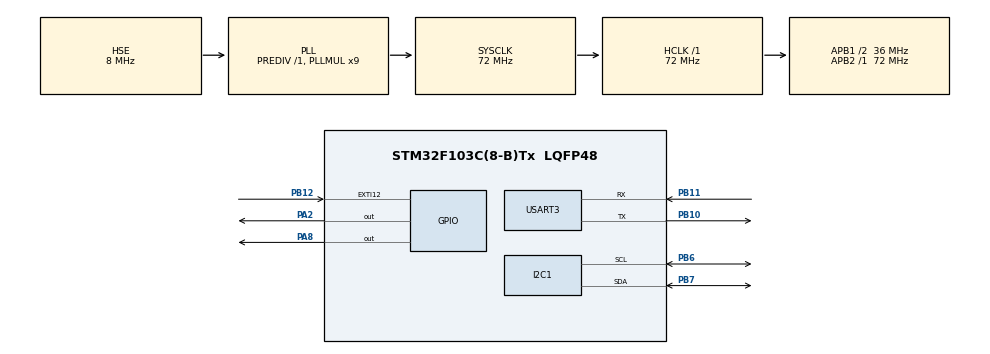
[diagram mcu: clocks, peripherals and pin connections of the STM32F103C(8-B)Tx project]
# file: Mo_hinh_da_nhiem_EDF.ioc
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FREERTOS.Mutexes01=UARTMutex,Dynamic,NULL,Depleted;LCDMutex,Dynamic,NULL,Available
FREERTOS.Queues01=LCDQueue,16,uint16_t,0,Dynamic,NULL,NULL
FREERTOS.Tasks01=Get_Distance,24,256,Function_Get_Distance,Default,NULL,Dynamic,NULL,NULL;Get_Temp,24,256,Function_Get_Temp,Default,NULL,Dynamic,NULL,NULL;Get_Humidity,24,256,Function_Get_Humidity,Default,NULL,Dynamic,NULL,NULL;LCD_UART,32,256,Function_LCD_UART,Default,NULL,Dynamic,NULL,NULL
FREERTOS.Timers01=EDF_Scheduler,CallbackEDF_Scheduler,osTimerPeriodic,Default,NULL,Dynamic,NULL
FREERTOS.configMINIMAL_STACK_SIZE=256
FREERTOS.configQUEUE_REGISTRY_SIZE=16
FREERTOS.configTIMER_QUEUE_LENGTH=16
FREERTOS.configTIMER_TASK_PRIORITY=2
FREERTOS.configTIMER_TASK_STACK_DEPTH=256
FREERTOS.configTOTAL_HEAP_SIZE=10000
FREERTOS.configUSE_NEWLIB_REENTRANT=1
Mcu.Family=STM32F1
Mcu.Name=STM32F103C(8-B)Tx
Mcu.Package=LQFP48
NVIC.EXTI15_10_IRQn=true\:5\:0\:false\:false\:true\:true\:true\:true\:true
NVIC.PriorityGroup=NVIC_PRIORITYGROUP_4
NVIC.TIM2_IRQn=true\:15\:0\:false\:false\:true\:false\:true\:true\:true
NVIC.TimeBase=TIM2_IRQn
NVIC.TimeBaseIP=TIM2
NVIC.USART3_IRQn=true\:5\:0\:false\:false\:true\:true\:true\:true\:true
PA13.Mode=Serial_Wire
PA13.Signal=SYS_JTMS-SWDIO
PA14.Mode=Serial_Wire
PA14.Signal=SYS_JTCK-SWCLK
PA2.Signal=GPIO_Output
PA8.Signal=GPIO_Output
PB10.Mode=Asynchronous
PB10.Signal=USART3_TX
PB11.Mode=Asynchronous
PB11.Signal=USART3_RX
PB12.GPIO_ModeDefaultEXTI=GPIO_MODE_IT_RISING_FALLING
PB12.Signal=GPXTI12
PB6.Mode=I2C
PB6.Signal=I2C1_SCL
PB7.Mode=I2C
PB7.Signal=I2C1_SDA
PD0-OSC_IN.Mode=HSE-External-Oscillator
PD0-OSC_IN.Signal=RCC_OSC_IN
PD1-OSC_OUT.Mode=HSE-External-Oscillator
PD1-OSC_OUT.Signal=RCC_OSC_OUT
ProjectManager.HeapSize=0x200
ProjectManager.StackSize=0x400
ProjectManager.TargetToolchain=STM32CubeIDE
RCC.AHBFreq_Value=72000000
RCC.APB1CLKDivider=RCC_HCLK_DIV2
RCC.APB1Freq_Value=36000000
RCC.APB1TimFreq_Value=72000000
RCC.APB2Freq_Value=72000000
RCC.APB2TimFreq_Value=72000000
RCC.HCLKFreq_Value=72000000
RCC.PLLMUL=RCC_PLL_MUL9
RCC.PLLSourceVirtual=RCC_PLLSOURCE_HSE
RCC.SYSCLKFreq_VALUE=72000000
RCC.SYSCLKSource=RCC_SYSCLKSOURCE_PLLCLK
RCC.USBFreq_Value=72000000
TIM1.Period=29999
TIM1.Prescaler=63
TIM3.Period=0xffff
TIM3.Prescaler=71
USART3.VirtualMode=VM_ASYNC
VP_FREERTOS_VS_CMSIS_V2.Mode=CMSIS_V2
VP_SYS_VS_tim2.Mode=TIM2
VP_TIM1_VS_ClockSourceINT.Mode=Internal
VP_TIM3_VS_ClockSourceINT.Mode=Internal
board=custom

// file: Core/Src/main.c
/* USER CODE BEGIN Header */
/* USER CODE END Header */
#include "main.h"
#include "cmsis_os.h"

/* USER CODE BEGIN Includes */
#include <stdio.h>
#include <stdint.h>
#include <stdbool.h>
#include <string.h>
#include <stdlib.h>
#include "dht22.h"
#include "I2C_LCD.h"
#include "stdio.h"
#include "hcsr04.h"
/* USER CODE END Includes */

/* USER CODE BEGIN PTD */
typedef struct {
    uint32_t earliest_deadline;
    uint32_t end_cycle;
    uint32_t deadline;
    uint32_t period;
} TaskState;

TaskState tasks[] = {
    {0,0, 50, 100},  // Distance task
    {0,0, 100, 200},  // Temp task
    {0,0, 150, 300},  // Humidity task
};

/* USER CODE END PTD */

/* USER CODE BEGIN PD */
#define MyI2C_LCD I2C_LCD_1
/* USER CODE END PD */

I2C_HandleTypeDef hi2c1;

TIM_HandleTypeDef htim1;
TIM_HandleTypeDef htim3;

UART_HandleTypeDef huart3;

/* Definitions for Get_Distance */
osThreadId_t Get_DistanceHandle;
const osThreadAttr_t Get_Distance_attributes = {
  .name = "Get_Distance",
  .stack_size = 256 * 4,
  .priority = (osPriority_t) osPriorityNormal,
};
/* Definitions for Get_Temp */
osThreadId_t Get_TempHandle;
const osThreadAttr_t Get_Temp_attributes = {
  .name = "Get_Temp",
  .stack_size = 256 * 4,
  .priority = (osPriority_t) osPriorityNormal,
};
/* Definitions for Get_Humidity */
osThreadId_t Get_HumidityHandle;
const osThreadAttr_t Get_Humidity_attributes = {
  .name = "Get_Humidity",
  .stack_size = 256 * 4,
  .priority = (osPriority_t) osPriorityNormal,
};
/* Definitions for LCD_UART */
osThreadId_t LCD_UARTHandle;
const osThreadAttr_t LCD_UART_attributes = {
  .name = "LCD_UART",
  .stack_size = 256 * 4,
  .priority = (osPriority_t) osPriorityAboveNormal,
};
/* Definitions for LCDQueue */
osMessageQueueId_t LCDQueueHandle;
const osMessageQueueAttr_t LCDQueue_attributes = {
  .name = "LCDQueue"
};
/* Definitions for EDF_Scheduler */
osTimerId_t EDF_SchedulerHandle;
const osTimerAttr_t EDF_Scheduler_attributes = {
  .name = "EDF_Scheduler"
};
/* Definitions for UARTMutex */
osMutexId_t UARTMutexHandle;
const osMutexAttr_t UARTMutex_attributes = {
  .name = "UARTMutex"
};
/* Definitions for LCDMutex */
osMutexId_t LCDMutexHandle;
const osMutexAttr_t LCDMutex_attributes = {
  .name = "LCDMutex"
};
/* USER CODE BEGIN PV */
int NUM_TASKS=3;
char buf[32]; // 1 dòng LCD chỉ có 16 ký tự
float T,H;

uint8_t RX_data,index_buf = 0;
int RX_done=0;
#define RX_BUFFER_SIZE 20
uint8_t rxBuffer[20];  // Bộ đệm nhận dữ liệu
uint8_t rxData;                    // Lưu dữ liệu từng byte

int task_id;
uint32_t deadline, period;

//int print_one_yet=0;

char received_char;
volatile bool system_running = false;  // Trạng thái hệ thống

#define FLAG_TASK_0 0x01
#define FLAG_TASK_1 0x02
#define FLAG_TASK_2 0x04

/* USER CODE END PV */

void SystemClock_Config(void);
static void MX_GPIO_Init(void);
static void MX_USART3_UART_Init(void);
static void MX_I2C1_Init(void);
static void MX_TIM1_Init(void);
static void MX_TIM3_Init(void);
void Function_Get_Distance(void *argument);
void Function_Get_Temp(void *argument);
void Function_Get_Humidity(void *argument);
void Function_LCD_UART(void *argument);
void CallbackEDF_Scheduler(void *argument);

/* USER CODE BEGIN PFP */
void Deadline_Init(){
	  uint32_t current_time = osKernelGetTickCount();  // Get the current system time
	  tasks[0].earliest_deadline =current_time + tasks[0].deadline;
	  tasks[1].earliest_deadline =current_time +tasks[1].deadline;
	  tasks[2].earliest_deadline =current_time +tasks[2].deadline;
	  tasks[0].end_cycle = current_time+tasks[0].period;
	  tasks[1].end_cycle = current_time+tasks[1].period;
	  tasks[2].end_cycle = current_time+tasks[2].period;
}
void EDF_Scheduler(void) {
    // In thông tin các deadline hiện tại để theo dõi
	uint32_t current_time = osKernelGetTickCount(); // Lấy thời gian hiện tại
//    printf("%lu:::%lu ----%lu----%lu\n",current_time, tasks[0].earliest_deadline, tasks[1].earliest_deadline, tasks[2].earliest_deadline);

    // Cập nhật lại deadline dựa trên chu kỳ cố định
    for (int i = 0; i < NUM_TASKS; i++) {
        if (current_time > tasks[i].end_cycle) {
            // Cập nhật deadline và chuyển sang chu kỳ kế tiếp
            tasks[i].earliest_deadline = tasks[i].end_cycle + tasks[i].deadline;
            tasks[i].end_cycle += tasks[i].period;
        }
    }

    // Tìm tác vụ có deadline sớm nhất
    int earliest_task = 0;
    for (int i = 0; i < NUM_TASKS; i++) {
        if (tasks[i].earliest_deadline < tasks[earliest_task].earliest_deadline) {
            earliest_task = i;
        }
    }
    if(tasks[earliest_task].earliest_deadline<tasks[earliest_task].end_cycle){
    	// Ghi nhật ký nhiệm vụ được ưu tiên (cho mục đích kiểm tra)
    	    printf("Task %d ->1 (Deadline: %lu)\n", earliest_task, tasks[earliest_task].earliest_deadline);

    	    osThreadFlagsSet(Get_DistanceHandle, earliest_task == 0 ? FLAG_TASK_0 : 0);
    	    osThreadFlagsSet(Get_TempHandle, earliest_task == 1 ? FLAG_TASK_1 : 0);
    	    osThreadFlagsSet(Get_HumidityHandle, earliest_task == 2 ? FLAG_TASK_2 : 0);
    	//
    	//    // Thiết lập ưu tiên cho các tác vụ
    	//    osThreadSetPriority(Get_DistanceHandle, earliest_task == 0 ? osPriorityNormal1 : osPriorityNormal);
    	//    osThreadSetPriority(Get_TempHandle, earliest_task == 1 ? osPriorityNormal1 : osPriorityNormal);
    	//    osThreadSetPriority(Get_HumidityHandle, earliest_task == 2 ? osPriorityNormal1 : osPriorityNormal);

    }
    }
/* USER CODE END PFP */

/* USER CODE BEGIN 0 */
#ifdef __GNUC__
    #define PUTCHAR_PROTOTYPE int __io_putchar(int ch)
#else
    #define PUTCHAR_PROTOTYPE int fputc(int ch, FILE *f)
#endif

PUTCHAR_PROTOTYPE
{
    HAL_UART_Transmit(&huart3, (uint8_t *)&ch, 1, HAL_MAX_DELAY);  // Transmit char via UART
    return ch;
}
/* USER CODE END 0 */

int main(void)
{

  /* MCU Configuration--------------------------------------------------------*/

  /* Reset of all peripherals, Initializes the Flash interface and the Systick. */
  HAL_Init();

  /* Configure the system clock */
  SystemClock_Config();

  /* Initialize all configured peripherals */
  MX_GPIO_Init();
  MX_USART3_UART_Init();
  MX_I2C1_Init();
  MX_TIM1_Init();
  MX_TIM3_Init();
  /* USER CODE BEGIN 2 */
  HAL_TIM_Base_Start(&htim3);
  printf("start\n");
  printf("\"start.\"->start\n");

  CoreDebug->DEMCR |= CoreDebug_DEMCR_TRCENA_Msk;
  DWT->CTRL |= DWT_CTRL_CYCCNTENA_Msk;

  HCSR04_Init(&htim1);
  dht22_init();
  I2C_LCD_Init(MyI2C_LCD);

  I2C_LCD_Clear(MyI2C_LCD);
  sprintf(buf,"\"start.\"->start");
  I2C_LCD_WriteString(MyI2C_LCD, buf);

//  HAL_UART_Receive_IT(&huart3, (uint8_t*)&received_char, 1);

  HAL_UART_Receive_IT(&huart3, &RX_data, 1);

  /* USER CODE END 2 */

  /* Init scheduler */
  osKernelInitialize();
  /* Create the mutex(es) */
  /* creation of UARTMutex */
  UARTMutexHandle = osMutexNew(&UARTMutex_attributes);

  /* creation of LCDMutex */
  LCDMutexHandle = osMutexNew(&LCDMutex_attributes);

  /* Create the timer(s) */
  /* creation of EDF_Scheduler */
  EDF_SchedulerHandle = osTimerNew(CallbackEDF_Scheduler, osTimerPeriodic, NULL, &EDF_Scheduler_attributes);

  /* USER CODE BEGIN RTOS_TIMERS */
  /* Start the EDF Scheduler timer */
  if (osTimerStart(EDF_SchedulerHandle, 30) != osOK) {
      printf("Failed to start EDF Scheduler timer\n");
  }
  /* USER CODE END RTOS_TIMERS */

  /* Create the queue(s) */
  /* creation of LCDQueue */
  LCDQueueHandle = osMessageQueueNew (16, sizeof(uint16_t), &LCDQueue_attributes);

  /* Create the thread(s) */
  /* creation of Get_Distance */
  Get_DistanceHandle = osThreadNew(Function_Get_Distance, NULL, &Get_Distance_attributes);

  /* creation of Get_Temp */
  Get_TempHandle = osThreadNew(Function_Get_Temp, NULL, &Get_Temp_attributes);

  /* creation of Get_Humidity */
  Get_HumidityHandle = osThreadNew(Function_Get_Humidity, NULL, &Get_Humidity_attributes);

  /* creation of LCD_UART */
  LCD_UARTHandle = osThreadNew(Function_LCD_UART, NULL, &LCD_UART_attributes);

  /* Start scheduler */
  osKernelStart();

  /* We should never get here as control is now taken by the scheduler */

  /* Infinite loop */
  while(1)
  {
  }
}

void SystemClock_Config(void)
{
  RCC_OscInitTypeDef RCC_OscInitStruct = {0};
  RCC_ClkInitTypeDef RCC_ClkInitStruct = {0};

  /** Initializes the RCC Oscillators according to the specified parameters
  * in the RCC_OscInitTypeDef structure.
  */
  RCC_OscInitStruct.OscillatorType = RCC_OSCILLATORTYPE_HSE;
  RCC_OscInitStruct.HSEState = RCC_HSE_ON;
  RCC_OscInitStruct.HSEPredivValue = RCC_HSE_PREDIV_DIV1;
  RCC_OscInitStruct.HSIState = RCC_HSI_ON;
  RCC_OscInitStruct.PLL.PLLState = RCC_PLL_ON;
  RCC_OscInitStruct.PLL.PLLSource = RCC_PLLSOURCE_HSE;
  RCC_OscInitStruct.PLL.PLLMUL = RCC_PLL_MUL9;
  if (HAL_RCC_OscConfig(&RCC_OscInitStruct) != HAL_OK)
  {
    Error_Handler();
  }

  /** Initializes the CPU, AHB and APB buses clocks
  */
  RCC_ClkInitStruct.ClockType = RCC_CLOCKTYPE_HCLK|RCC_CLOCKTYPE_SYSCLK
                              |RCC_CLOCKTYPE_PCLK1|RCC_CLOCKTYPE_PCLK2;
  RCC_ClkInitStruct.SYSCLKSource = RCC_SYSCLKSOURCE_PLLCLK;
  RCC_ClkInitStruct.AHBCLKDivider = RCC_SYSCLK_DIV1;
  RCC_ClkInitStruct.APB1CLKDivider = RCC_HCLK_DIV2;
  RCC_ClkInitStruct.APB2CLKDivider = RCC_HCLK_DIV1;

  if (HAL_RCC_ClockConfig(&RCC_ClkInitStruct, FLASH_LATENCY_2) != HAL_OK)
  {
    Error_Handler();
  }
}

static void MX_I2C1_Init(void)
{

  hi2c1.Instance = I2C1;
  hi2c1.Init.ClockSpeed = 100000;
  hi2c1.Init.DutyCycle = I2C_DUTYCYCLE_2;
  hi2c1.Init.OwnAddress1 = 0;
  hi2c1.Init.AddressingMode = I2C_ADDRESSINGMODE_7BIT;
  hi2c1.Init.DualAddressMode = I2C_DUALADDRESS_DISABLE;
  hi2c1.Init.OwnAddress2 = 0;
  hi2c1.Init.GeneralCallMode = I2C_GENERALCALL_DISABLE;
  hi2c1.Init.NoStretchMode = I2C_NOSTRETCH_DISABLE;
  if (HAL_I2C_Init(&hi2c1) != HAL_OK)
  {
    Error_Handler();
  }

}

static void MX_TIM1_Init(void)
{

  TIM_ClockConfigTypeDef sClockSourceConfig = {0};
  TIM_MasterConfigTypeDef sMasterConfig = {0};

  htim1.Instance = TIM1;
  htim1.Init.Prescaler = 63;
  htim1.Init.CounterMode = TIM_COUNTERMODE_UP;
  htim1.Init.Period = 29999;
  htim1.Init.ClockDivision = TIM_CLOCKDIVISION_DIV1;
  htim1.Init.RepetitionCounter = 0;
  htim1.Init.AutoReloadPreload = TIM_AUTORELOAD_PRELOAD_DISABLE;
  if (HAL_TIM_Base_Init(&htim1) != HAL_OK)
  {
    Error_Handler();
  }
  sClockSourceConfig.ClockSource = TIM_CLOCKSOURCE_INTERNAL;
  if (HAL_TIM_ConfigClockSource(&htim1, &sClockSourceConfig) != HAL_OK)
  {
    Error_Handler();
  }
  sMasterConfig.MasterOutputTrigger = TIM_TRGO_RESET;
  sMasterConfig.MasterSlaveMode = TIM_MASTERSLAVEMODE_DISABLE;
  if (HAL_TIMEx_MasterConfigSynchronization(&htim1, &sMasterConfig) != HAL_OK)
  {
    Error_Handler();
  }

}

static void MX_TIM3_Init(void)
{

  /* USER CODE BEGIN TIM3_Init 0 */
	__HAL_RCC_TIM3_CLK_ENABLE();
  /* USER CODE END TIM3_Init 0 */

  TIM_ClockConfigTypeDef sClockSourceConfig = {0};
  TIM_MasterConfigTypeDef sMasterConfig = {0};

  htim3.Instance = TIM3;
  htim3.Init.Prescaler = 71;
  htim3.Init.CounterMode = TIM_COUNTERMODE_UP;
  htim3.Init.Period = 0xffff;
  htim3.Init.ClockDivision = TIM_CLOCKDIVISION_DIV1;
  htim3.Init.AutoReloadPreload = TIM_AUTORELOAD_PRELOAD_DISABLE;
  if (HAL_TIM_Base_Init(&htim3) != HAL_OK)
  {
    Error_Handler();
  }
  sClockSourceConfig.ClockSource = TIM_CLOCKSOURCE_INTERNAL;
  if (HAL_TIM_ConfigClockSource(&htim3, &sClockSourceConfig) != HAL_OK)
  {
    Error_Handler();
  }
  sMasterConfig.MasterOutputTrigger = TIM_TRGO_RESET;
  sMasterConfig.MasterSlaveMode = TIM_MASTERSLAVEMODE_DISABLE;
  if (HAL_TIMEx_MasterConfigSynchronization(&htim3, &sMasterConfig) != HAL_OK)
  {
    Error_Handler();
  }

}

static void MX_USART3_UART_Init(void)
{

  huart3.Instance = USART3;
  huart3.Init.BaudRate = 115200;
  huart3.Init.WordLength = UART_WORDLENGTH_8B;
  huart3.Init.StopBits = UART_STOPBITS_1;
  huart3.Init.Parity = UART_PARITY_NONE;
  huart3.Init.Mode = UART_MODE_TX_RX;
  huart3.Init.HwFlowCtl = UART_HWCONTROL_NONE;
  huart3.Init.OverSampling = UART_OVERSAMPLING_16;
  if (HAL_UART_Init(&huart3) != HAL_OK)
  {
    Error_Handler();
  }

}

static void MX_GPIO_Init(void)
{
  GPIO_InitTypeDef GPIO_InitStruct = {0};

  /* GPIO Ports Clock Enable */
  __HAL_RCC_GPIOD_CLK_ENABLE();
  __HAL_RCC_GPIOA_CLK_ENABLE();
  __HAL_RCC_GPIOB_CLK_ENABLE();

  /*Configure GPIO pin Output Level */
  HAL_GPIO_WritePin(GPIOA, GPIO_PIN_2|GPIO_PIN_8, GPIO_PIN_RESET);

  /*Configure GPIO pins : PA2 PA8 */
  GPIO_InitStruct.Pin = GPIO_PIN_2|GPIO_PIN_8;
  GPIO_InitStruct.Mode = GPIO_MODE_OUTPUT_PP;
  GPIO_InitStruct.Pull = GPIO_NOPULL;
  GPIO_InitStruct.Speed = GPIO_SPEED_FREQ_LOW;
  HAL_GPIO_Init(GPIOA, &GPIO_InitStruct);

  /*Configure GPIO pin : PB12 */
  GPIO_InitStruct.Pin = GPIO_PIN_12;
  GPIO_InitStruct.Mode = GPIO_MODE_IT_RISING_FALLING;
  GPIO_InitStruct.Pull = GPIO_NOPULL;
  HAL_GPIO_Init(GPIOB, &GPIO_InitStruct);

  /* EXTI interrupt init*/
  HAL_NVIC_SetPriority(EXTI15_10_IRQn, 5, 0);
  HAL_NVIC_EnableIRQ(EXTI15_10_IRQn);

}

/* USER CODE BEGIN 4 */
//void HAL_UART_RxCpltCallback(UART_HandleTypeDef *huart)
//{
//    HAL_UART_Receive_IT(&huart3, (uint8_t*)&received_char, 1);
//
//    if (received_char == 's') {  // Lệnh 'S' để bắt đầu hệ thống
//        system_running = true;
////        if (osTimerStart(EDF_SchedulerHandle, 30) != osOK) {
////            printf("Failed to start EDF Scheduler timer\n");
////        }
//        Deadline_Init();
//        I2C_LCD_Clear(MyI2C_LCD);
//        LCD_UARTHandle = osThreadNew(Function_LCD_UART, NULL, &LCD_UART_attributes);
//        printf("System Started\n");
//    }
//    else if (received_char == 'p') {  // Lệnh 'P' để dừng hệ thống
////    	osTimerStop(EDF_SchedulerHandle);
//        system_running = false;
//        osThreadTerminate(LCD_UARTHandle);
//        I2C_LCD_Clear(MyI2C_LCD);
//		sprintf(buf,"Send s to start");
//		I2C_LCD_SetCursor(MyI2C_LCD, 0, 0);
//		I2C_LCD_WriteString(MyI2C_LCD, buf);
//        printf("System Stopped\n");
//    }
//}
// Hàm xử lý khi UART nhận dữ liệu xong

// Hàm phân tích lệnh và thay đổi thông số task
//void process_uart_command(const char *command) {
//    uint8_t task_id;
//    uint32_t deadline, period;
//
//    // Lệnh "set <task_id> <deadline> <period>"
//    if (sscanf(command, "set %hhu %lu %lu", &task_id, &deadline, &period) == 3) {
//        if (task_id < NUM_TASKS) {
//            tasks[task_id].deadline = deadline;
//            tasks[task_id].period = period;
//            printf("Task %d updated: Deadline=%lu, Period=%lu\n", task_id, deadline, period);
//        } else {
//            printf("Error: Invalid task ID. Use task_id between 0 and %d.\n", NUM_TASKS - 1);
//        }
//    }
//    // Lệnh "start" để khởi động hệ thống
//    else if (strcmp(command, "start") == 0) {
//        if (!system_running) {
//            system_running = true;
//            Deadline_Init();
//            I2C_LCD_Clear(MyI2C_LCD);
//            LCD_UARTHandle = osThreadNew(Function_LCD_UART, NULL, &LCD_UART_attributes);
//            printf("System started successfully.\n");
//        } else {
//            printf("System is already running.\n");
//        }
//    }
//    // Lệnh "stop" để dừng hệ thống
//    else if (strcmp(command, "stop") == 0) {
//        if (system_running) {
//            system_running = false;
//            osThreadTerminate(LCD_UARTHandle);
//            I2C_LCD_Clear(MyI2C_LCD);
//            sprintf(buf, "Send s to start");
//            I2C_LCD_SetCursor(MyI2C_LCD, 0, 0);
//            I2C_LCD_WriteString(MyI2C_LCD, buf);
//            printf("System stopped successfully.\n");
//        } else {
//            printf("System is not running.\n");
//        }
//    }
//    // Lệnh không hợp lệ
//    else {
//        printf("Error: Invalid command. Available commands:\n");
//        printf("  set <task_id> <deadline> <period>\n");
//        printf("  start\n");
//        printf("  stop\n");
//    }
//}
//void HAL_UART_RxCpltCallback(UART_HandleTypeDef *huart) {
//    if (huart->Instance == USART3) { // Kiểm tra đúng UART3
//        if (uart_buffer[uart_buffer_index] == '\n' || uart_buffer[uart_buffer_index] == '\r') {
//            // Kết thúc lệnh -> xử lý lệnh
//            uart_buffer[uart_buffer_index] = '\0'; // Đảm bảo chuỗi kết thúc
//            process_uart_command(uart_buffer);    // Gọi hàm xử lý lệnh
//
//            // Reset bộ đệm để nhận lệnh mới
//            uart_buffer_index = 0;
//        } else {
//            // Tiếp tục lưu vào bộ đệm
//            uart_buffer_index++;
//            if (uart_buffer_index >= UART_BUFFER_SIZE) {
//                uart_buffer_index = 0; // Tránh tràn bộ đệm
//                printf("Error: UART buffer overflow. Command too long.\n");
//            }
//        }
//
//        // Bắt đầu nhận ký tự tiếp theo
//        HAL_UART_Receive_IT(huart, (uint8_t*)&uart_buffer[uart_buffer_index], 1);
//    }
//}

void HAL_UART_RxCpltCallback(UART_HandleTypeDef *huart) {
	UNUSED(huart);
	if (huart->Instance == huart3.Instance) {
		if(RX_data !=46)
		{ //NULL ASCII
			rxBuffer[index_buf++] = RX_data;//Them du lieu vao buffer
		}
		else if(RX_data==46)
		{
			index_buf = 0; // xoa con tro du lieu
			sprintf (buf,rxBuffer);
			memset(rxBuffer,0,strlen(rxBuffer));
			if(strcmp(buf,"start")==0){
				        system_running = true;
				//        if (osTimerStart(EDF_SchedulerHandle, 30) != osOK) {
				//            printf("Failed to start EDF Scheduler timer\n");
				//        }
				        Deadline_Init();
				        I2C_LCD_Clear(MyI2C_LCD);
				        LCD_UARTHandle = osThreadNew(Function_LCD_UART, NULL, &LCD_UART_attributes);
				        printf("System Started\n");
			}
			else if(strcmp(buf,"stop")==0){
				//    	osTimerStop(EDF_SchedulerHandle);
				        system_running = false;
				        osThreadTerminate(LCD_UARTHandle);
				        I2C_LCD_Clear(MyI2C_LCD);
						sprintf(buf,"\"start.\"->start");
						I2C_LCD_WriteString(MyI2C_LCD, buf);
				        printf("System Stopped\n");
			}
			else if(sscanf(buf, "set %d %lu %lu", &task_id, &deadline, &period)==3){
				tasks[task_id].deadline=deadline;
				tasks[task_id].period=period;
				printf("Setting done\n");
			}
		}
		HAL_UART_Receive_IT(&huart3, &RX_data, 1);
	}
}

/* USER CODE END 4 */

void Function_Get_Distance(void *argument)
{
  /* USER CODE BEGIN 5 */
	uint16_t id=1;
	while(1){
		osThreadFlagsWait(FLAG_TASK_0, osFlagsWaitAny, osWaitForever);

//		printf("test_d\n");
        if (osMutexAcquire(UARTMutexHandle, osWaitForever) == osOK) {
            // Thực hiện truy cập tài nguyên được bảo vệ
//			printf("test_d\n");

			if (hc04_state == HCSR04_IDLE_STATE) {
				HCSR04_Start();
			}
			int retry;
			retry = HCSR04_Handle();
			if(retry){
				HCSR04_Start();
				HCSR04_Handle();
			}
			tasks[0].earliest_deadline=tasks[0].end_cycle+tasks[0].deadline;
			// Send the result to the LCD queue

			osMessageQueuePut(LCDQueueHandle, &id, 0, osWaitForever);
			osMutexRelease(UARTMutexHandle);
        }
//		osDelay(tasks[0].period);
	}

  /* USER CODE END 5 */
}

void Function_Get_Temp(void *argument)
{
  /* USER CODE BEGIN Function_Get_Temp */
	uint16_t id=2;
	while(1){
		osThreadFlagsWait(FLAG_TASK_1, osFlagsWaitAny, osWaitForever);

//		printf("test_t\n");
        if (osMutexAcquire(UARTMutexHandle, osWaitForever) == osOK) {
            // Thực hiện truy cập tài nguyên được bảo vệ
//        	printf("test_t\n");

		DHT22_Get_Temp(&T);

		// Send the result to the LCD queue
		tasks[1].earliest_deadline=tasks[1].end_cycle+tasks[1].deadline;
		osMessageQueuePut(LCDQueueHandle, &id, 0, osWaitForever);
		osMutexRelease(UARTMutexHandle);
        }
//		osDelay(tasks[1].period);
	}

  /* USER CODE END Function_Get_Temp */
}

void Function_Get_Humidity(void *argument)
{
  /* USER CODE BEGIN Function_Get_Humidity */
	uint16_t id=3;
	while(1){
		osThreadFlagsWait(FLAG_TASK_2, osFlagsWaitAny, osWaitForever);
//		printf("test_h\n");
        if (osMutexAcquire(UARTMutexHandle, osWaitForever) == osOK) {
            // Thực hiện truy cập tài nguyên được bảo vệ
//			printf("test_h\n");
			DHT22_Get_Humidity(&H);

			// Send the result to the LCD queue
			tasks[2].earliest_deadline=tasks[2].end_cycle+tasks[2].deadline;
			osMessageQueuePut(LCDQueueHandle, &id, 0, osWaitForever);
			osMutexRelease(UARTMutexHandle);
        }
//		osDelay(tasks[2].period);
	}

  /* USER CODE END Function_Get_Humidity */
}

void Function_LCD_UART(void *argument)
{
  /* USER CODE BEGIN Function_LCD_UART */
	uint16_t received_id;

    while (1) {
        // Check if data is available in the queue

        if (osMessageQueueGet(LCDQueueHandle, &received_id, NULL, osWaitForever) == osOK) {
        	printf("LCD-%d: ",received_id);

        	if (osMutexAcquire(LCDMutexHandle, osWaitForever) == osOK) {
      	  // Kiểm tra giá trị dữ liệu và thực hiện hành động tương ứng
      	  switch (received_id) {
      		  case 1:
//      			printf("LCD111\n");
					sprintf(buf,"D = %.1f cm", hcsr04_distance);
					I2C_LCD_SetCursor(MyI2C_LCD, 0, 0);
					I2C_LCD_WriteString(MyI2C_LCD, buf);
					printf("D = %.1f\r\n",hcsr04_distance);
					break;

      		  case 2:
//      			printf("LCD222\n");
					sprintf(buf,"T=%.1f", T);
					I2C_LCD_SetCursor(MyI2C_LCD, 0, 1);
					I2C_LCD_WriteString(MyI2C_LCD, buf);
					printf("T = %.1f\r\n",T);
					break;

      		  case 3:
//      			printf("LCD333\n");
					sprintf(buf,"H=%.1f", H);
					I2C_LCD_SetCursor(MyI2C_LCD, 7, 1);
					I2C_LCD_WriteString(MyI2C_LCD, buf);
					printf("H = %.1f\r\n",H);
					break;
      	  	  }
      	  	  osMutexRelease(LCDMutexHandle);
        	}
        }
    }
  /* USER CODE END Function_LCD_UART */
}

/* CallbackEDF_Scheduler function */
void CallbackEDF_Scheduler(void *argument)
{
  /* USER CODE BEGIN CallbackEDF_Scheduler */
//	if (osMutexAcquire(UARTMutexHandle, osWaitForever) == osOK) {
//		printf("callback\n");
	if (system_running){
		EDF_Scheduler();
	}
//	else{
////		if(!print_one_yet){
////			printf("call");
////			I2C_LCD_Clear(MyI2C_LCD);
////			I2C_LCD_WriteString(MyI2C_LCD, buf);
////			print_one_yet=1;
////		}
//	}

//		osMutexRelease(UARTMutexHandle);
//	}
  /* USER CODE END CallbackEDF_Scheduler */
}

void HAL_TIM_PeriodElapsedCallback(TIM_HandleTypeDef *htim)
{
  if (htim->Instance == TIM2) {
    HAL_IncTick();
  }
}

void Error_Handler(void)
{
}
